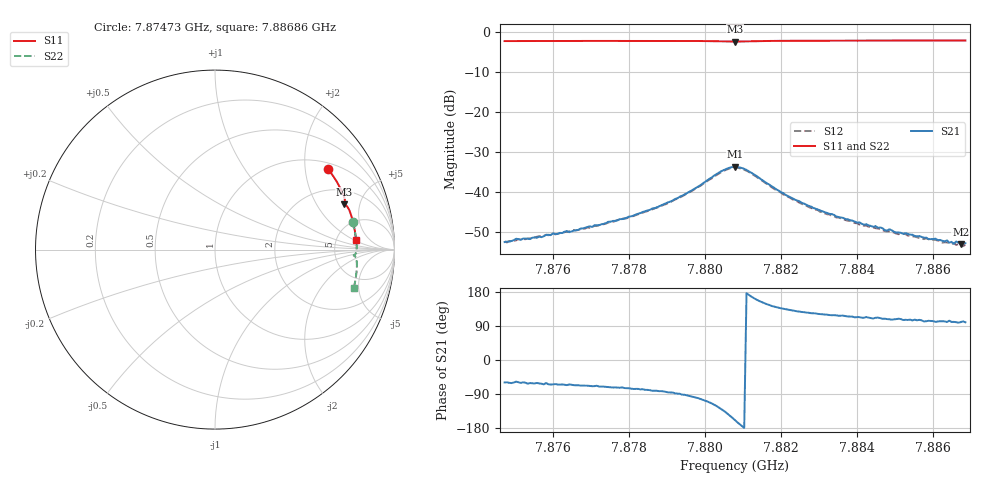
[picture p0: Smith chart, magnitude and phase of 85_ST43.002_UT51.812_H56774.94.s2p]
#  HZ  S  DB  R  50.00
! Rohde & Schwarz Vector Network Analyzer
! Rohde-Schwarz,ZNB20-2Port,1311601062101988,3.16
! Created: UTC 1/12/2023, 6:35:31 PM
! freq[Hz]  db:S11  ang:S11  db:S21  ang:S21  db:S12  ang:S12  db:S22  ang:S22
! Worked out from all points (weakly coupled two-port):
!   201 points, 7.87473 GHz to 7.88686 GHz, reference 50 ohm
!   highest |S21| = -33.76 dB at 7.8808 GHz (marker M1); lowest = -53.2 dB at 7.88674 GHz (marker M2)
!   lowest |S11| = -2.3 dB at 7.8808 GHz (marker M3), VSWR 7.44, Z = 148 + j178 ohm
!   |S11| at or under -10 dB: nowhere
!   |S22| runs from -2.2 to -1.9 dB; largest |S21 - S12| = 0.0013
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7.874732e9  -2.23 35.3  -52.64 -59.2  -52.44 -61.5  -2.14 11.2
7.876795e9  -2.20 29.7  -49.22 -67.6  -49.36 -70.5  -2.09 6.4
7.877886e9  -2.19 26.7  -46.75 -74.1  -46.71 -77.2  -2.06 3.8
7.878796e9  -2.18 24.1  -43.68 -82.3  -43.85 -85.8  -2.06 1.7
7.879645e9  -2.20 21.7  -39.76 -96.2  -39.92 -99.5  -2.06 -0.4
7.880434e9  -2.30 19.6  -34.87 -129.1  -35.12 -132.6  -2.17 -2.2
7.880798e9  -2.35 19.2  -33.76 -158.8  -33.96 -161.8  -2.23 -2.5
7.881162e9  -2.30 18.9  -34.88 171.8  -35.04 168.1  -2.16 -2.6
7.882071e9  -2.16 16.5  -40.38 135.2  -40.73 132.0  -2.03 -4.5
7.88286e9  -2.13 14.3  -44.09 123.3  -44.25 119.8  -1.99 -6.4
7.884194e9  -2.11 10.7  -48.31 111.5  -48.56 108.6  -1.95 -9.5
7.884498e9  -2.10 9.9  -48.62 111.4  -49.16 107.3  -1.95 -10.1
7.88474e9  -2.10 9.3  -49.65 109.1  -49.90 106.4  -1.95 -10.7
7.884861e9  -2.10 8.9  -49.41 107.5  -49.97 104.9  -1.94 -10.9
7.885043e9  -2.10 8.5  -50.25 107.9  -50.52 103.8  -1.94 -11.3
7.885893e9  -2.08 6.3  -51.90 103.4  -51.92 100.6  -1.93 -13.2
7.886378e9  -2.08 5.0  -52.22 100.3  -52.72 98.3  -1.92 -14.2
7.88656e9  -2.08 4.5  -53.05 100.6  -52.90 96.7  -1.92 -14.6
7.88662e9  -2.08 4.4  -52.50 99.7  -53.37 98.5  -1.92 -14.8
7.886742e9  -2.08 4.0  -53.22 100.3  -52.91 96.7  -1.92 -15.0
7.886802e9  -2.08 3.9  -52.96 101.9  -53.66 97.2  -1.92 -15.1
7.886863e9  -2.08 3.7  -52.90 99.4  -53.29 96.2  -1.92 -15.3
